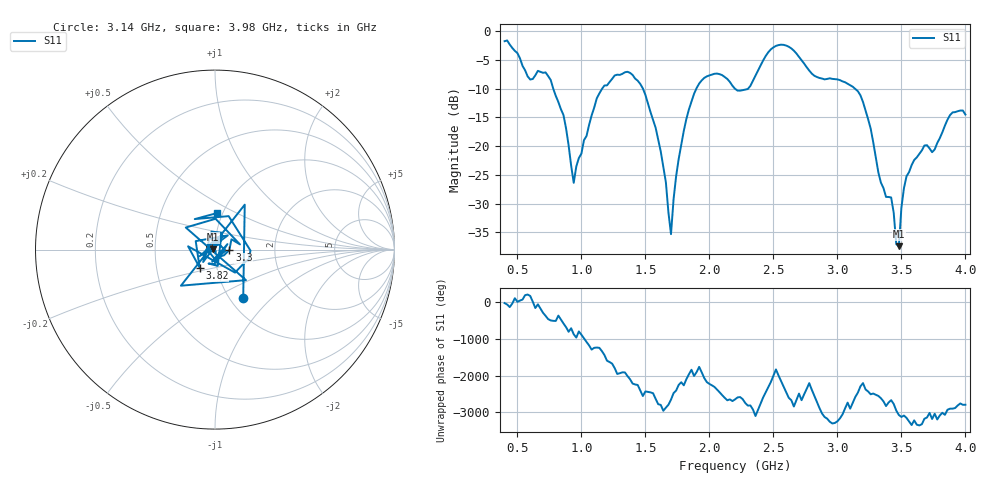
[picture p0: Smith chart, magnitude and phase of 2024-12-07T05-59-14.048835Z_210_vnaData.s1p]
!Created with skrf (http://scikit-rf.org).
# Hz S RI R 50.0
!freq ReS11 ImS11
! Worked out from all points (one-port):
!   181 points, 400 MHz to 4 GHz, reference 50 ohm
!   lowest |S11| = -37.4 dB at 3.48 GHz (marker M1), VSWR 1.03, Z = 48.7 + j0.225 ohm
!   |S11| at or under -10 dB: 780 MHz to 1.162 GHz (382.1 MHz wide, 39.3 % of centre); 1.481 GHz to 1.898 GHz (417.1 MHz wide, 24.7 % of centre); 3.138 GHz to end of sweep (the widest 3 of 4)
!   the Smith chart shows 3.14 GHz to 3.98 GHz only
!   S11 on the Smith chart (normalised r, x): 3.14 GHz: 1.15, -0.69; 3.3 GHz: 1.17, -0.01; 3.82 GHz: 0.83, -0.17; 3.98 GHz: 0.94, +0.40
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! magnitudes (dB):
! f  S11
! 400 MHz  -1.7
! 600 MHz  -8.4
! 720 MHz  -7.2
! 860 MHz  -14.6
! 940 MHz  -26.4
! 1.12 GHz  -11.7
! 1.3 GHz  -7.6
! 1.5 GHz  -11.1
! 1.62 GHz  -20.9
! 1.7 GHz  -35.3
! 1.76 GHz  -22.2
! 1.92 GHz  -9.1
! 2.2 GHz  -10.0
! 2.3 GHz  -10.1
! 2.5 GHz  -2.8
! 2.66 GHz  -3.4
! 3.1 GHz  -9.4
! 3.14 GHz  -10.0
! 3.3 GHz  -22.0
! 3.38 GHz  -28.8
! 3.42 GHz  -28.9
! 3.46 GHz  -37.0
! 3.48 GHz  -37.4
! 3.52 GHz  -27.3
! 3.56 GHz  -24.5
! 3.82 GHz  -17.6
! 3.98 GHz  -13.8
! 4 GHz  -14.5
